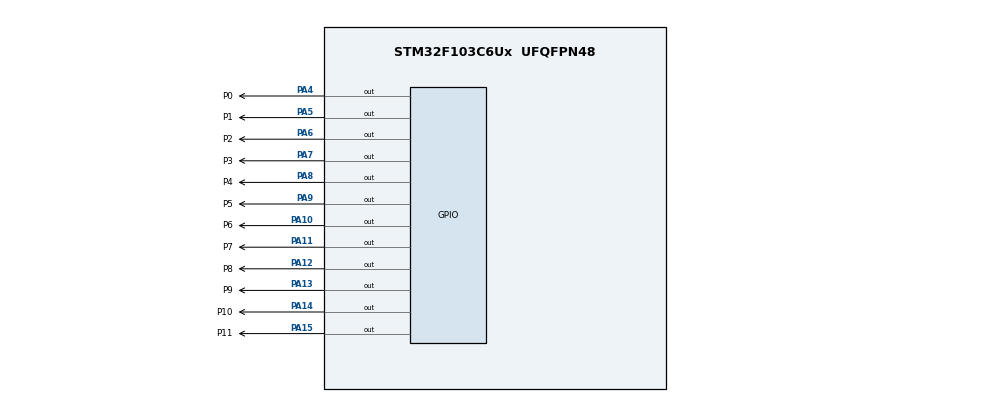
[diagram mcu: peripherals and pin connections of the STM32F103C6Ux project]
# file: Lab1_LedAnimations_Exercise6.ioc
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Mcu.Family=STM32F1
Mcu.Name=STM32F103C6Ux
Mcu.Package=UFQFPN48
NVIC.PriorityGroup=NVIC_PRIORITYGROUP_4
PA10.GPIO_Label=P6
PA10.Signal=GPIO_Output
PA11.GPIO_Label=P7
PA11.Signal=GPIO_Output
PA12.GPIO_Label=P8
PA12.Signal=GPIO_Output
PA13.GPIO_Label=P9
PA13.Signal=GPIO_Output
PA14.GPIO_Label=P10
PA14.Signal=GPIO_Output
PA15.GPIO_Label=P11
PA15.Signal=GPIO_Output
PA4.GPIO_Label=P0
PA4.Signal=GPIO_Output
PA5.GPIO_Label=P1
PA5.Signal=GPIO_Output
PA6.GPIO_Label=P2
PA6.Signal=GPIO_Output
PA7.GPIO_Label=P3
PA7.Signal=GPIO_Output
PA8.GPIO_Label=P4
PA8.Signal=GPIO_Output
PA9.GPIO_Label=P5
PA9.Signal=GPIO_Output
ProjectManager.HeapSize=0x200
ProjectManager.StackSize=0x400
ProjectManager.TargetToolchain=STM32CubeIDE
RCC.APB1Freq_Value=8000000
RCC.APB2Freq_Value=8000000
VP_SYS_VS_ND.Mode=No_Debug
board=custom

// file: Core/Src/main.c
/* USER CODE BEGIN Header */
/**
  ******************************************************************************
  * @file           : main.c
  * @brief          : Main program body
  ******************************************************************************
  * @attention
  *
  * <h2><center>&copy; Copyright (c) 2022 STMicroelectronics.
  * All rights reserved.</center></h2>
  *
  * This software component is licensed by ST under BSD 3-Clause license,
  * the "License"; You may not use this file except in compliance with the
  * License. You may obtain a copy of the License at:
  *                        opensource.org/licenses/BSD-3-Clause
  *
  ******************************************************************************
  */
/* USER CODE END Header */
#include "main.h"

void SystemClock_Config(void);
static void MX_GPIO_Init(void);

/* USER CODE BEGIN 0 */
void testingFunction(int num)
{
	if (num == 0){
		HAL_GPIO_WritePin(P11_GPIO_Port, P11_Pin, GPIO_PIN_RESET);
		HAL_GPIO_WritePin(P0_GPIO_Port, P0_Pin, GPIO_PIN_SET);
	}
	else if (num == 1){
		HAL_GPIO_WritePin(P0_GPIO_Port, P0_Pin, GPIO_PIN_RESET);
		HAL_GPIO_WritePin(P1_GPIO_Port, P1_Pin, GPIO_PIN_SET);
	}
	else if (num == 2){
		HAL_GPIO_WritePin(P1_GPIO_Port, P1_Pin, GPIO_PIN_RESET);
		HAL_GPIO_WritePin(P2_GPIO_Port, P2_Pin, GPIO_PIN_SET);
	}
	else if (num == 3){
		HAL_GPIO_WritePin(P2_GPIO_Port, P2_Pin, GPIO_PIN_RESET);
		HAL_GPIO_WritePin(P3_GPIO_Port, P3_Pin, GPIO_PIN_SET);
	}
	else if (num == 4){
		HAL_GPIO_WritePin(P3_GPIO_Port, P3_Pin, GPIO_PIN_RESET);
		HAL_GPIO_WritePin(P4_GPIO_Port, P4_Pin, GPIO_PIN_SET);
	}
	else if (num == 5){
		HAL_GPIO_WritePin(P4_GPIO_Port, P4_Pin, GPIO_PIN_RESET);
		HAL_GPIO_WritePin(P5_GPIO_Port, P5_Pin, GPIO_PIN_SET);
	}
	else if (num == 6){
		HAL_GPIO_WritePin(P5_GPIO_Port, P5_Pin, GPIO_PIN_RESET);
		HAL_GPIO_WritePin(P6_GPIO_Port, P6_Pin, GPIO_PIN_SET);
	}
	else if (num == 7){
		HAL_GPIO_WritePin(P6_GPIO_Port, P6_Pin, GPIO_PIN_RESET);
		HAL_GPIO_WritePin(P7_GPIO_Port, P7_Pin, GPIO_PIN_SET);
	}
	else if (num == 8){
		HAL_GPIO_WritePin(P7_GPIO_Port, P7_Pin, GPIO_PIN_RESET);
		HAL_GPIO_WritePin(P8_GPIO_Port, P8_Pin, GPIO_PIN_SET);
	}
	else if (num == 9){
		HAL_GPIO_WritePin(P8_GPIO_Port, P8_Pin, GPIO_PIN_RESET);
		HAL_GPIO_WritePin(P9_GPIO_Port, P9_Pin, GPIO_PIN_SET);
	}
	else if (num == 10){
		HAL_GPIO_WritePin(P9_GPIO_Port, P9_Pin, GPIO_PIN_RESET);
		HAL_GPIO_WritePin(P10_GPIO_Port, P10_Pin, GPIO_PIN_SET);
	}
	else if (num == 11){
		HAL_GPIO_WritePin(P10_GPIO_Port, P10_Pin, GPIO_PIN_RESET);
		HAL_GPIO_WritePin(P11_GPIO_Port, P11_Pin, GPIO_PIN_SET);
	}
}
/* USER CODE END 0 */

int main(void)
{

  /* MCU Configuration--------------------------------------------------------*/

  /* Reset of all peripherals, Initializes the Flash interface and the Systick. */
  HAL_Init();

  /* Configure the system clock */
  SystemClock_Config();

  /* Initialize all configured peripherals */
  MX_GPIO_Init();
  /* USER CODE BEGIN 2 */
  int counter = 0;
  /* USER CODE END 2 */

  /* Infinite loop */
  /* USER CODE BEGIN WHILE */
  while (1)
  {
	  if (counter >= 12) counter = 0;
	  testingFunction(counter++);
	  HAL_Delay(1000);
    /* USER CODE END WHILE */

  }
}

void SystemClock_Config(void)
{
  RCC_OscInitTypeDef RCC_OscInitStruct = {0};
  RCC_ClkInitTypeDef RCC_ClkInitStruct = {0};

  /** Initializes the RCC Oscillators according to the specified parameters
  * in the RCC_OscInitTypeDef structure.
  */
  RCC_OscInitStruct.OscillatorType = RCC_OSCILLATORTYPE_HSI;
  RCC_OscInitStruct.HSIState = RCC_HSI_ON;
  RCC_OscInitStruct.HSICalibrationValue = RCC_HSICALIBRATION_DEFAULT;
  RCC_OscInitStruct.PLL.PLLState = RCC_PLL_NONE;
  if (HAL_RCC_OscConfig(&RCC_OscInitStruct) != HAL_OK)
  {
    Error_Handler();
  }
  /** Initializes the CPU, AHB and APB buses clocks
  */
  RCC_ClkInitStruct.ClockType = RCC_CLOCKTYPE_HCLK|RCC_CLOCKTYPE_SYSCLK
                              |RCC_CLOCKTYPE_PCLK1|RCC_CLOCKTYPE_PCLK2;
  RCC_ClkInitStruct.SYSCLKSource = RCC_SYSCLKSOURCE_HSI;
  RCC_ClkInitStruct.AHBCLKDivider = RCC_SYSCLK_DIV1;
  RCC_ClkInitStruct.APB1CLKDivider = RCC_HCLK_DIV1;
  RCC_ClkInitStruct.APB2CLKDivider = RCC_HCLK_DIV1;

  if (HAL_RCC_ClockConfig(&RCC_ClkInitStruct, FLASH_LATENCY_0) != HAL_OK)
  {
    Error_Handler();
  }
}

static void MX_GPIO_Init(void)
{
  GPIO_InitTypeDef GPIO_InitStruct = {0};

  /* GPIO Ports Clock Enable */
  __HAL_RCC_GPIOA_CLK_ENABLE();

  /*Configure GPIO pin Output Level */
  HAL_GPIO_WritePin(GPIOA, P0_Pin|P1_Pin|P2_Pin|P3_Pin
                          |P4_Pin|P5_Pin|P6_Pin|P7_Pin
                          |P8_Pin|P9_Pin|P10_Pin|P11_Pin, GPIO_PIN_RESET);

  /*Configure GPIO pins : P0_Pin P1_Pin P2_Pin P3_Pin
                           P4_Pin P5_Pin P6_Pin P7_Pin
                           P8_Pin P9_Pin P10_Pin P11_Pin */
  GPIO_InitStruct.Pin = P0_Pin|P1_Pin|P2_Pin|P3_Pin
                          |P4_Pin|P5_Pin|P6_Pin|P7_Pin
                          |P8_Pin|P9_Pin|P10_Pin|P11_Pin;
  GPIO_InitStruct.Mode = GPIO_MODE_OUTPUT_PP;
  GPIO_InitStruct.Pull = GPIO_NOPULL;
  GPIO_InitStruct.Speed = GPIO_SPEED_FREQ_LOW;
  HAL_GPIO_Init(GPIOA, &GPIO_InitStruct);

}

void Error_Handler(void)
{
  __disable_irq();
  while (1)
  {
  }
}

/************************ (C) COPYRIGHT STMicroelectronics *****END OF FILE****/
